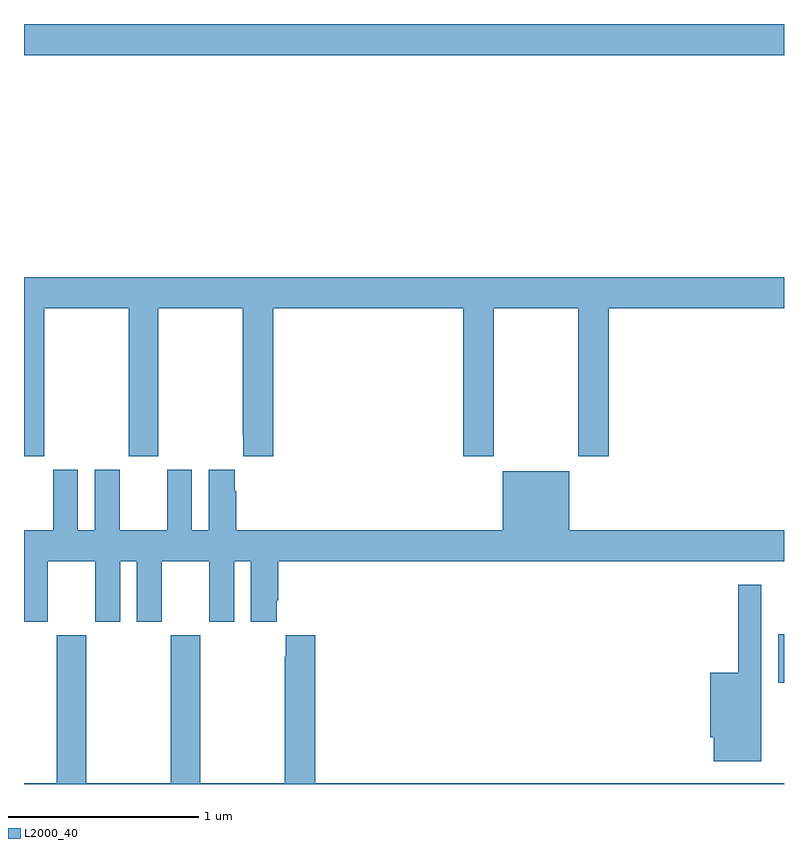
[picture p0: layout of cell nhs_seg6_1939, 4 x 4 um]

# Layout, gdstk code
import gdstk
lib = gdstk.Library(unit=1e-6, precision=1e-09)
def R(c, l, rs):  # rectangles x0, y0, x1, y1
    for r in rs: c.add(gdstk.rectangle(r[:2], r[2:], *l))
def P(c, l, *ps):  # polygons
    for p in ps: c.add(gdstk.Polygon(p, *l))
L2000_40 = (2000, 40)

nhs_seg6_1939 = lib.new_cell('nhs_seg6_1939')
R(nhs_seg6_1939, L2000_40, [(230.969,944.033,231,944.287), (227,947.336,231,947.5)])
P(nhs_seg6_1939, L2000_40, [(227.106,946.004),(227.551,946.004),(227.551,945.225),(227.706,945.225),(227.706,946.004),(228.151,946.004),(228.151,945.337),(228.155,945.337),(228.155,945.225),(228.311,945.225),(228.311,946.004),(229.313,946.004),(229.313,945.225),(229.473,945.225),(229.473,946.004),(229.918,946.004),(229.918,945.225),(230.078,945.225),(230.078,946.004),(231,946.004),(231,946.168),(227,946.168),(227,945.225),(227.106,945.225)],
  [(228.116,945.041),(228.109,945.041),(228.109,945.154),(227.972,945.154),(227.972,944.836),(227.884,944.836),(227.884,945.154),(227.753,945.154),(227.753,944.836),(227.503,944.836),(227.503,945.154),(227.372,945.154),(227.372,944.836),(227.284,944.836),(227.284,945.154),(227.153,945.154),(227.153,944.836),(227,944.836),(227,944.355),(227.125,944.355),(227.125,944.672),(227.375,944.672),(227.375,944.355),(227.506,944.355),(227.506,944.672),(227.594,944.672),(227.594,944.355),(227.725,944.355),(227.725,944.672),(227.975,944.672),(227.975,944.355),(228.106,944.355),(228.106,944.672),(228.194,944.672),(228.194,944.355),(228.331,944.355),(228.331,944.467),(228.338,944.467),(228.338,944.672),(231,944.672),(231,944.836),(229.87,944.836),(229.87,945.145),(229.52,945.145),(229.52,944.836),(228.116,944.836)],
  [(230.881,944.548),(230.76,944.548),(230.76,944.086),(230.612,944.086),(230.612,943.746),(230.63,943.746),(230.63,943.619),(230.881,943.619)],
  [(228.533,944.284),(228.377,944.284),(228.377,944.171),(228.373,944.171),(228.373,943.504),(227.928,943.504),(227.928,944.284),(227.773,944.284),(227.773,943.504),(227.328,943.504),(227.328,944.284),(227.173,944.284),(227.173,943.504),(227,943.504),(227,943.5),(231,943.5),(231,943.504),(228.533,943.504)])

lib.write_gds('nhs_seg6_1939.gds')
